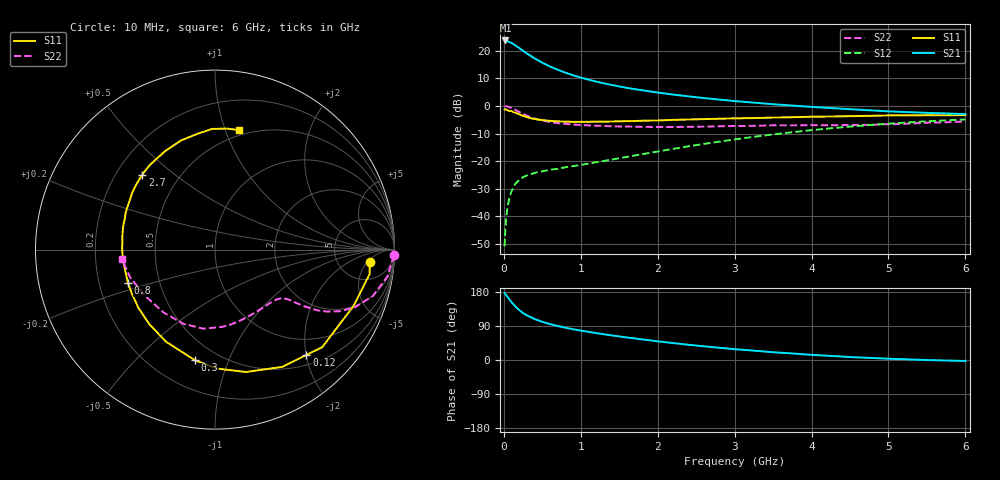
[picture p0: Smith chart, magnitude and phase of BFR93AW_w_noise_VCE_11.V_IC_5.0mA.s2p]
! Infineon Technologies  Discrete & RF Semiconductors
! BFR93AW
! VCE =  11. V,  IC =  5.0 mA
! Common Emitter S-Parameters:  Jan 2017
# GHz  S  MA  R  50
!  f  S11  S21  S12  S22
! GHz  MAG  ANG  MAG  ANG  MAG  ANG  MAG  ANG
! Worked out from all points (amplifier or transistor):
!   77 points, 10 MHz to 6 GHz, reference 50 ohm
!   highest |S21| = 23.7 dB at 20 MHz (marker M1)
!   |S21| within 3 dB of that: start of sweep to 212.8 MHz
!   unconditionally stable (mu >= 1): 1.074 GHz to 2.159 GHz
!   at 130 MHz: K = 0.18, MSG = 25.7 dB, |S12| = -29.2 dB
!   at 2.2 GHz: K = 0.99, MSG = 9.8 dB, |S12| = -15.6 dB
!   at 6 GHz: K = 0.87, MSG = 1.0 dB, |S12| = -4.9 dB
!   lowest NFmin = 1.18 dB at 450 MHz
!   S11 on the Smith chart (normalised r, x): 10 MHz: 11, -6; 120 MHz: 0.68, -2.00; 300 MHz: 0.38, -0.76; 800 MHz: 0.33, -0.17; 2.7 GHz: 0.31, +0.39; 6 GHz: 0.45, +1.11
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0.01  0.8641 -4.5  15.2 176.9  0.0029 85.9  0.9982 -1.8
0.02  0.8723 -9.0  15.25 174.3  0.0059 89.1  0.9884 -3.7
0.05  0.8343 -21.8  14.84 165.7  0.0154 79.0  0.9726 -8.9
0.06  0.8207 -25.8  14.57 163.2  0.018 76.3  0.9601 -10.3
0.1  0.8077 -42.3  13.78 152.5  0.0285 70.5  0.9164 -16.4
0.12  0.7771 -49.1  13.19 148.2  0.0325 66.3  0.8865 -18.6
0.15  0.7535 -60.1  12.46 141.1  0.0388 61.7  0.8444 -22.3
0.2  0.7035 -75.8  11.11 131.7  0.0456 55.5  0.775 -26.3
0.25  0.6628 -89.1  9.931 123.8  0.0514 51.3  0.7149 -28.9
0.3  0.6266 -100.2  8.846 117.7  0.0552 48.8  0.663 -30.7
0.4  0.5813 -118.0  7.226 107.9  0.0613 46.1  0.5903 -32.4
0.5  0.5536 -131.5  6.024 100.7  0.0655 44.9  0.5423 -33.3
0.6  0.536 -142.6  5.162 94.7  0.07 45.8  0.5107 -33.8
0.8  0.5193 -158.8  3.993 85.2  0.0777 48.9  0.4723 -35.2
1.1  0.5159 -176.0  2.984 74.3  0.0903 53.9  0.444 -38.6
1.5  0.5258 167.6  2.247 62.2  0.1126 60.3  0.4245 -45.6
2.1  0.5508 149.0  1.672 47.0  0.1581 65.1  0.4153 -60.1
2.7  0.5808 134.2  1.341 34.3  0.2151 65.1  0.4247 -76.7
3.1  0.5974 125.3  1.191 27.0  0.2584 63.0  0.4332 -87.6
4.1  0.6388 105.6  0.941 12.5  0.3752 53.6  0.4472 -116.1
5.1  0.6727 90.0  0.786 2.7  0.4864 40.9  0.4698 -149.4
6  0.6791 78.7  0.71 -2.6  0.5691 28.6  0.5216 -174.2
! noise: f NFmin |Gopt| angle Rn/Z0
0.45  1.18  0.25  77  0.14
0.9  1.5  0.29  137  0.15
1.9  2.75  0.49  -153  0.19
2.4  3.37  0.57  -135  0.38
